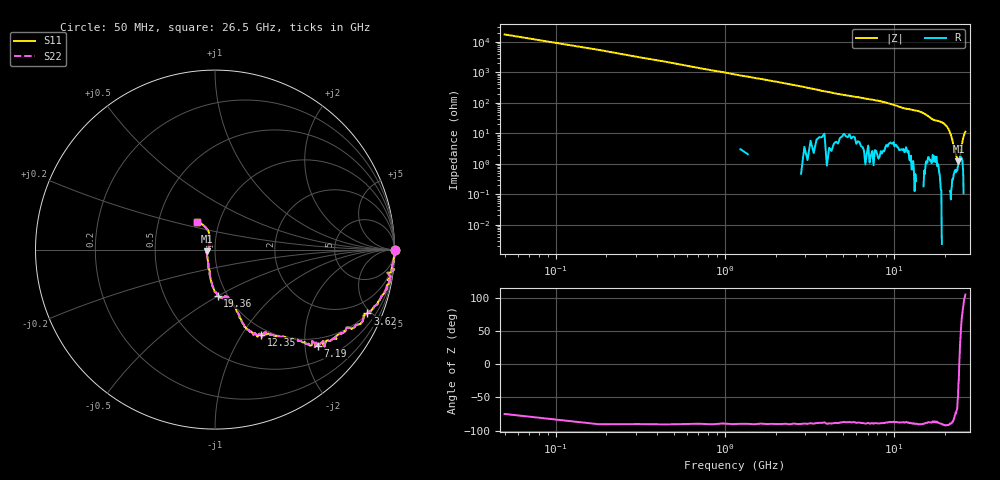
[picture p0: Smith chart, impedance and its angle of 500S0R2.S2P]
!  American Technical Ceramics  Date:  3/6/98
!  One Norden Lane
!  Huntington Station,  NY.  11746-2102
!  Tel:  (516) 547-5700  Fax:  (516) 547-5748
!  Part Number  500S0R2
!  Description: Broadband Microwave capacitor
!  Application:
# GHZ S DB R 50
! Freq  |S11|  S11 Ph  |S21|  S21 Ph  |S12|  S12 Ph  |S22|  S22 Ph
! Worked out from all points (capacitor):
!   201 points, 50 MHz to 26.5 GHz, reference 50 ohm
!   read as one part in series: C = 161 fF near 180 MHz
!   lowest |Z| = 1.21 ohm at 24.12 GHz (marker M1)
!   series resonance near 24.38 GHz, so ESL is about 260 pH
!   S11 on the Smith chart (normalised r, x): 50 MHz: open; 3.62 GHz: 1.02, -4.76; 7.19 GHz: 0.82, -2.29; 12.35 GHz: 0.91, -1.22; 19.36 GHz: 0.90, -0.49; 26.5 GHz: 0.78, +0.25
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0.05  0.01 -0.2  -44.88 74.8  -44.88 74.8  0.01 -0.2
0.18  -0.01 -1.3  -34.78 89.1  -34.78 89.1  -0.01 -1.3
0.31  0.01 -2.1  -29.99 88.1  -29.99 88.1  0.01 -2.1
0.58  -0.03 -4.1  -24.63 86.0  -24.63 86.0  -0.03 -4.1
0.84  -0.09 -6.7  -21.42 83.9  -21.42 83.9  -0.09 -6.7
1.77  -0.11 -11.1  -15.11 79.1  -15.11 79.1  -0.11 -11.1
3.62  -0.72 -22.7  -9.14 65.7  -9.14 65.7  -0.72 -22.7
4.55  -1.01 -29.0  -7.26 59.5  -7.26 59.5  -1.01 -29.0
7.19  -2.11 -43.0  -4.79 47.3  -4.79 47.3  -2.11 -43.0
8.91  -3.05 -46.7  -3.59 42.1  -3.59 42.1  -3.05 -46.7
12.35  -5.34 -61.6  -1.76 28.0  -1.76 28.0  -5.34 -61.6
13.28  -5.66 -65.7  -1.65 25.9  -1.65 25.9  -5.66 -65.7
15.26  -7.91 -70.2  -1.06 22.0  -1.06 22.0  -7.91 -70.2
17.77  -11.53 -78.0  -0.66 12.9  -0.66 12.9  -11.53 -78.0
19.36  -11.81 -86.7  -0.56 10.5  -0.56 10.5  -11.81 -86.7
20.81  -14.88 -96.7  -0.48 7.4  -0.48 7.4  -14.88 -96.7
22.14  -22.45 -121.3  -0.46 3.7  -0.46 3.7  -22.45 -121.3
22.93  -26.21 -160.1  -0.52 2.1  -0.52 2.1  -26.21 -160.1
24.12  -27.01 -168.4  -0.58 0.2  -0.58 0.2  -27.01 -168.4
24.78  -29.03 151.2  -0.57 -0.6  -0.57 -0.6  -29.03 151.2
25.71  -19.42 109.3  -0.50 -2.1  -0.50 -2.1  -19.42 109.3
26.5  -14.67 122.2  -0.59 -4.3  -0.59 -4.3  -14.67 122.2
